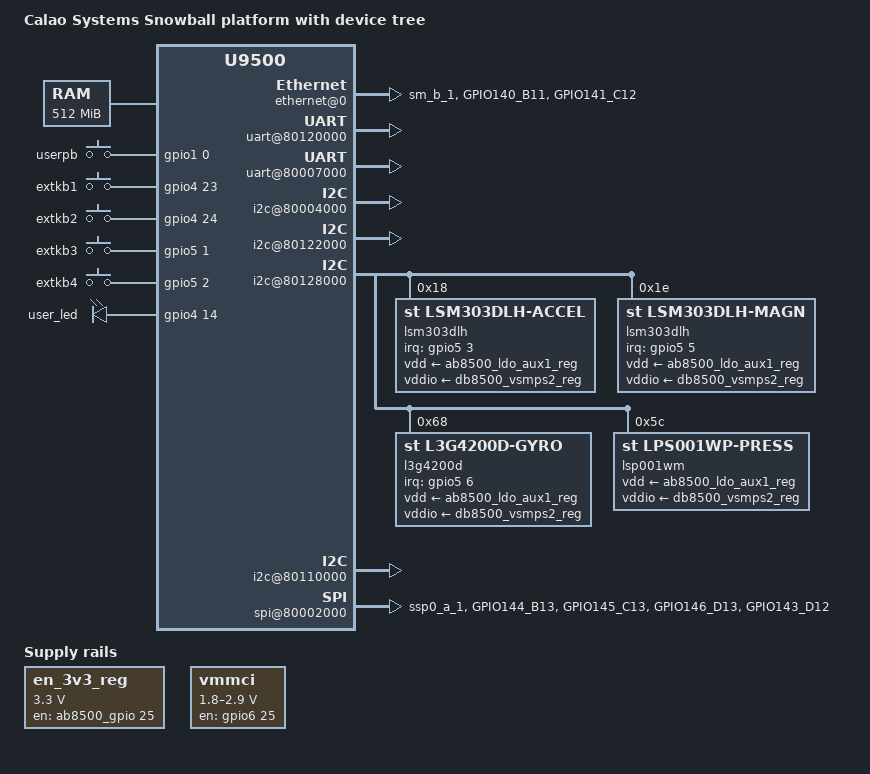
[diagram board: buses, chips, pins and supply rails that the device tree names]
// SPDX-License-Identifier: GPL-2.0-or-later
/*
 * Copyright 2011 ST-Ericsson AB
 */

/dts-v1/;
#include "ste-db9500.dtsi"
#include "ste-href-ab8500.dtsi"
#include "ste-href-family-pinctrl.dtsi"

/ {
	model = "Calao Systems Snowball platform with device tree";
	compatible = "calaosystems,snowball-a9500", "st-ericsson,u9500";

	memory {
		device_type = "memory";
		reg = <0x00000000 0x20000000>;
	};

	en_3v3_reg: en_3v3 {
		compatible = "regulator-fixed";
		regulator-name = "en-3v3-fixed-supply";
		regulator-min-microvolt = <3300000>;
		regulator-max-microvolt = <3300000>;
		/* AB8500 GPIOs start from 1 - offset 25 is GPIO26. */
		gpio = <&ab8500_gpio 25 0x4>;
		startup-delay-us = <5000>;
		enable-active-high;
	};

	gpio_keys {
		compatible = "gpio-keys";
		#address-cells = <1>;
		#size-cells = <0>;

		button@1 {
			debounce-interval = <50>;
			wakeup-source;
			linux,code = <2>;
			label = "userpb";
			gpios = <&gpio1 0 GPIO_ACTIVE_HIGH>;
		};
		button@2 {
			debounce-interval = <50>;
			wakeup-source;
			linux,code = <3>;
			label = "extkb1";
			gpios = <&gpio4 23 GPIO_ACTIVE_HIGH>;
		};
		button@3 {
			debounce-interval = <50>;
			wakeup-source;
			linux,code = <4>;
			label = "extkb2";
			gpios = <&gpio4 24 GPIO_ACTIVE_HIGH>;
		};
		button@4 {
			debounce-interval = <50>;
			wakeup-source;
			linux,code = <5>;
			label = "extkb3";
			gpios = <&gpio5 1 GPIO_ACTIVE_HIGH>;
		};
		button@5 {
			debounce-interval = <50>;
			wakeup-source;
			linux,code = <6>;
			label = "extkb4";
			gpios = <&gpio5 2 GPIO_ACTIVE_HIGH>;
		};
	};

	leds {
		compatible = "gpio-leds";
		pinctrl-names = "default";
		pinctrl-0 = <&gpioled_snowball_mode>;
		used-led {
			label = "user_led";
			gpios = <&gpio4 14 GPIO_ACTIVE_HIGH>;
			default-state = "on";
			linux,default-trigger = "heartbeat";
		};
	};

	soc {
		/* Name the GPIO muxed rails on the Snowball board */
		gpio@8012e000 {
			/* GPIOs 0 - 31 */
			gpio-line-names = "", "", "", "", "", "", "", "",
				     "", "", "", "", "", "", "", "",
				     "", "", "", "", "", "", "", "",
				     "", "", "", "", "", "", "",
				     "AP_GPIO31";
		};

		gpio@8012e080 {
			/* GPIOs 32 - 63 */
			gpio-line-names = "USR PB", "", "", "", "", "", "", "",
				     "", "", "", "", "", "", "", "",
				     "", "", "", "", "", "", "", "",
				     "", "", "", "", "", "", "", "";
		};

		gpio@8000e000 {
			/* GPIOs 64 - 95 */
			gpio-line-names = "", "", "", "", "AP_GPIO68", "", "", "",
				     "", "", "", "", "", "", "", "",
				     "", "", "", "", "", "", "", "",
				     "", "", "", "", "", "", "", "";
		};

		gpio@8000e100 {
			/* GPIOs 128 - 159 */
			gpio-line-names = "", "", "", "", "", "", "", "",
				     "", "", "", "", "IRQ_LAN", "RSTn_LAN",
				     "USR_LED", "", "", "", "", "", "",
				     "", "", "AP_GPIO151", "AP_GPIO152",
				     "", "", "", "", "", "", "";
		};

		gpio@8000e180 {
			/* GPIOs 160 - 191 */
			gpio-line-names = "", "AP_GPIO161", "AP_GPIO162",
				     "ACCELEROMETER_INT1_RDY",
				     "ACCELEROMETER_INT2", "MAG_DRDY",
				     "GYRO_DRDY", "RSTn_MLC", "RSTn_SLC",
				     "GYRO_INT", "UART_WAKE", "GBF_RESET",
				     "", "", "", "",
				     "", "", "", "", "", "", "", "",
				     "", "", "", "", "", "", "", "";
		};

		gpio@8011e000 {
			/* GPIOs 192 - 223 */
			gpio-line-names = "HDTV_INTn", "", "", "", "HDTV_RST",
				     "", "", "", "", "", "", "", "", "",
				     "", "", "", "", "", "", "", "", "",
				     "WLAN_RESETN", "WLAN_IRQ", "MMC_EN",
				     "MMC_CD", "", "", "", "", "";
		};

		gpio@8011e080 {
			/* GPIOs 224 - 255 */
			gpio-line-names = "", "", "", "", "SD_SEL", "", "", "",
				     "", "", "", "", "", "", "", "",
				     "", "", "", "", "", "", "", "",
				     "", "", "", "", "", "", "", "";
		};

		msp0: msp@80123000 {
			pinctrl-names = "default";
			pinctrl-0 = <&msp0txrxtfstck_a_1_default>;
			status = "okay";
		};

		msp1: msp@80124000 {
			pinctrl-names = "default";
			pinctrl-0 = <&msp1txrx_a_1_default>;
			status = "okay";
		};

		msp2: msp@80117000 {
			pinctrl-names = "default";
			pinctrl-0 = <&msp2_a_1_default>;
		};

		msp3: msp@80125000 {
			status = "okay";
		};

		external-bus@50000000 {
			status = "okay";

			ethernet@0 {
				compatible = "smsc,lan9115";
				reg = <0 0x10000>;
				interrupts = <12 IRQ_TYPE_EDGE_RISING>;
				interrupt-parent = <&gpio4>;
				vdd33a-supply = <&en_3v3_reg>;
				vddvario-supply = <&db8500_vape_reg>;
				pinctrl-names = "default";
				pinctrl-0 = <&eth_snowball_mode>;

				reg-shift = <1>;
				reg-io-width = <2>;
				smsc,force-internal-phy;
				smsc,irq-active-high;
				smsc,irq-push-pull;

				clocks = <&prcc_pclk 3 0>;
			};
		};

		/* ST6G3244ME level translator for 1.8/2.9 V */
		vmmci: regulator-gpio {
			compatible = "regulator-gpio";

			/* GPIO228 SD_SEL */
			gpios = <&gpio7 4 GPIO_ACTIVE_HIGH>;
			/* GPIO217 MMC_EN */
			enable-gpio = <&gpio6 25 GPIO_ACTIVE_HIGH>;
			enable-active-high;

			regulator-min-microvolt = <1800000>;
			regulator-max-microvolt = <2900000>;
			regulator-name = "mmci-reg";
			regulator-type = "voltage";

			startup-delay-us = <100>;

			states = <1800000 0x1
				  2900000 0x0>;
		};

		// External Micro SD slot
		sdi0_per1@80126000 {
			arm,primecell-periphid = <0x10480180>;
			max-frequency = <100000000>;
			bus-width = <4>;
			cap-sd-highspeed;
			cap-mmc-highspeed;
			sd-uhs-sdr12;
			sd-uhs-sdr25;
			/* All direction control is used */
			st,sig-dir-cmd;
			st,sig-dir-dat0;
			st,sig-dir-dat2;
			st,sig-dir-dat31;
			st,sig-pin-fbclk;
			full-pwr-cycle;
			vmmc-supply = <&ab8500_ldo_aux3_reg>;
			vqmmc-supply = <&vmmci>;
			pinctrl-names = "default", "sleep";
			pinctrl-0 = <&mc0_a_1_default &sdi0_default_mode>;
			pinctrl-1 = <&mc0_a_1_sleep>;

			/* GPIO218 MMC_CD */
			cd-gpios  = <&gpio6 26 GPIO_ACTIVE_LOW>;

			status = "okay";
		};

		// WLAN SDIO channel
		sdi1_per2@80118000 {
			arm,primecell-periphid = <0x10480180>;
			max-frequency = <100000000>;
			bus-width = <4>;
			pinctrl-names = "default", "sleep";
			pinctrl-0 = <&mc1_a_1_default>;
			pinctrl-1 = <&mc1_a_1_sleep>;

			status = "okay";
		};

		// Unused PoP eMMC - register and put it to sleep by default */
		sdi2_per3@80005000 {
			arm,primecell-periphid = <0x10480180>;
			pinctrl-names = "default";
			pinctrl-0 = <&mc2_a_1_sleep>;

			status = "okay";
		};

		// On-board eMMC
		sdi4_per2@80114000 {
			arm,primecell-periphid = <0x10480180>;
		        max-frequency = <100000000>;
			bus-width = <8>;
			cap-mmc-highspeed;
			vmmc-supply = <&ab8500_ldo_aux2_reg>;
			pinctrl-names = "default", "sleep";
			pinctrl-0 = <&mc4_a_1_default>;
			pinctrl-1 = <&mc4_a_1_sleep>;

			status = "okay";
		};

		uart@80120000 {
			pinctrl-names = "default", "sleep";
			pinctrl-0 = <&u0_a_1_default>;
			pinctrl-1 = <&u0_a_1_sleep>;
			status = "okay";
		};

		/* This UART is unused and thus left disabled */
		uart@80121000 {
			pinctrl-names = "default", "sleep";
			pinctrl-0 = <&u1rxtx_a_1_default>;
			pinctrl-1 = <&u1rxtx_a_1_sleep>;
		};

		uart@80007000 {
			pinctrl-names = "default", "sleep";
			pinctrl-0 = <&u2rxtx_c_1_default>;
			pinctrl-1 = <&u2rxtx_c_1_sleep>;
			status = "okay";
		};

		i2c@80004000 {
			pinctrl-names = "default","sleep";
			pinctrl-0 = <&i2c0_a_1_default>;
			pinctrl-1 = <&i2c0_a_1_sleep>;
			status = "okay";
		};

		i2c@80122000 {
			pinctrl-names = "default","sleep";
			pinctrl-0 = <&i2c1_b_2_default>;
			pinctrl-1 = <&i2c1_b_2_sleep>;
			status = "okay";
		};

		i2c@80128000 {
			pinctrl-names = "default","sleep";
			pinctrl-0 = <&i2c2_b_2_default>;
			pinctrl-1 = <&i2c2_b_2_sleep>;
			status = "okay";
			lsm303dlh@18 {
				/* Accelerometer */
				compatible = "st,lsm303dlh-accel";
				st,drdy-int-pin = <1>;
				reg = <0x18>;
				vdd-supply = <&ab8500_ldo_aux1_reg>;
				vddio-supply = <&db8500_vsmps2_reg>;
				pinctrl-names = "default";
				pinctrl-0 = <&accel_snowball_mode>;
				interrupt-parent = <&gpio5>;
				interrupts = <3 IRQ_TYPE_EDGE_RISING>, /* INT1 */
					     <4 IRQ_TYPE_EDGE_RISING>; /* INT2 */
			};
			lsm303dlh@1e {
				/* Magnetometer */
				compatible = "st,lsm303dlh-magn";
				reg = <0x1e>;
				vdd-supply = <&ab8500_ldo_aux1_reg>;
				vddio-supply = <&db8500_vsmps2_reg>;
				pinctrl-names = "default";
				pinctrl-0 = <&magneto_snowball_mode>;
				interrupt-parent = <&gpio5>;
				interrupts = <5 IRQ_TYPE_EDGE_RISING>; /* DRDY line */
			};
			l3g4200d@68 {
				/* Gyroscope */
				compatible = "st,l3g4200d-gyro";
				st,drdy-int-pin = <2>;
				reg = <0x68>;
				vdd-supply = <&ab8500_ldo_aux1_reg>;
				vddio-supply = <&db8500_vsmps2_reg>;
				pinctrl-names = "default";
				pinctrl-0 = <&gyro_snowball_mode>;
				interrupt-parent = <&gpio5>;
				interrupts = <6 IRQ_TYPE_EDGE_RISING>, /* DRDY line */
					     <9 IRQ_TYPE_EDGE_RISING>; /* INT1 */
			};
			lsp001wm@5c {
				/* Barometer/pressure sensor */
				compatible = "st,lps001wp-press";
				reg = <0x5c>;
				vdd-supply = <&ab8500_ldo_aux1_reg>;
				vddio-supply = <&db8500_vsmps2_reg>;
			};
		};

		i2c@80110000 {
			pinctrl-names = "default","sleep";
			pinctrl-0 = <&i2c3_c_2_default>;
			pinctrl-1 = <&i2c3_c_2_sleep>;
			status = "okay";
		};

		spi@80002000 {
			pinctrl-names = "default";
			pinctrl-0 = <&ssp0_snowball_mode>;
			status = "okay";
		};

		prcmu@80157000 {
			ab8500 {
				ab8500-gpio {
					/*
					 * AB8500 GPIOs are numbered starting from 1, so the first
					 * index 0 is what in the datasheet is called "GPIO1", and
					 * the second is "GPIO2" and so forth. Confusingly, the
					 * Snowball schematic then names the "GPIO2" line "PM_GPIO1".
					 * while later naming "GPIO4" as "PM_GPIO4".
					 */
					gpio-line-names = "", /* AB8500 GPIO1 */
						     "PM_GPIO1", /* AB8500 GPIO2 */
						     "WLAN_CLK_REQ", /* AB8500 GPIO3 */
						     "PM_GPIO4", /* AB8500 GPIO4 */
						     "", "", "", "", "", "", "", "", "", "", "",
						     "EN_3V6", /* AB8500 GPIO16 */
						     "", "", "", "" ,"", "", "", "", "",
						     "EN_3V3", /* AB8500 GPIO26 */
						     "", "", "", "", "", "", "", "", "", "", "", "", "",
						     "PM_GPIO40", /* AB8500 GPIO40 */
						     "PM_GPIO41", /* AB8500 GPIO41 */
						     "PM_GPIO42"; /* AB8500 GPIO42 */
				};

				ab8500_usb {
					pinctrl-names = "default", "sleep";
					pinctrl-0 = <&usb_a_1_default>;
					pinctrl-1 = <&usb_a_1_sleep>;
				};

				ext_regulators: ab8500-ext-regulators {
					ab8500_ext1_reg: ab8500_ext1 {
						regulator-name = "ab8500-ext-supply1";
					};

					ab8500_ext2_reg_reg: ab8500_ext2 {
						regulator-name = "ab8500-ext-supply2";
					};

					ab8500_ext3_reg_reg: ab8500_ext3 {
						regulator-name = "ab8500-ext-supply3";
					};
				};

				ab8500-regulators {
					ab8500_ldo_aux1_reg: ab8500_ldo_aux1 {
						regulator-name = "V-DISPLAY";
					};

					ab8500_ldo_aux2_reg: ab8500_ldo_aux2 {
						regulator-name = "V-eMMC1";
					};

					ab8500_ldo_aux3_reg: ab8500_ldo_aux3 {
						regulator-name = "V-MMC-SD";
					};

					ab8500_ldo_intcore_reg: ab8500_ldo_intcore {
						regulator-name = "V-INTCORE";
					};

					ab8500_ldo_tvout_reg: ab8500_ldo_tvout {
						regulator-name = "V-TVOUT";
					};

					ab8500_ldo_audio_reg: ab8500_ldo_audio {
						regulator-name = "V-AUD";
					};

					ab8500_ldo_anamic1_reg: ab8500_ldo_anamic1 {
						regulator-name = "V-AMIC1";
					};

					ab8500_ldo_anamic2_reg: ab8500_ldo_anamic2 {
						regulator-name = "V-AMIC2";
					};

					ab8500_ldo_dmic_reg: ab8500_ldo_dmic {
						regulator-name = "V-DMIC";
					};

					ab8500_ldo_ana_reg: ab8500_ldo_ana {
						regulator-name = "V-CSI/DSI";
					};
				};
			};
		};

		pinctrl {
			/*
			 * Set this up using hogs, as time goes by and as seems fit, these
			 * can be moved over to being controlled by respective device.
			 */
			pinctrl-names = "default";
			pinctrl-0 = <&gbf_snowball_mode>,
				  <&wlan_snowball_mode>;

			ethernet {
				/*
				 * Mux in "SM" which is used for the
				 * SMSC911x Ethernet adapter
				 */
				eth_snowball_mode: eth_snowball {
					snowball_mux {
						function = "sm";
						groups = "sm_b_1";
					};
					/* LAN IRQ pin */
					snowball_cfg1 {
						pins = "GPIO140_B11";
						ste,config = <&in_nopull>;
					};
					/* LAN reset pin */
					snowball_cfg2 {
						pins = "GPIO141_C12";
						ste,config = <&gpio_out_hi>;
					};

				};
			};
			sdi0 {
				sdi0_default_mode: sdi0_default {
					snowball_mux {
						function = "mc0";
						/* Add the DAT31 pin even if it is not really used */
						groups = "mc0dat31dir_a_1";
					};
					snowball_cfg1 {
						pins = "GPIO21_AB3"; /* DAT31DIR */
						ste,config = <&out_hi>;
					};
					/* SD card detect GPIO pin, extend default state */
					snowball_cfg2 {
						pins = "GPIO218_AH11";
						ste,config = <&gpio_in_pu>;
					};
					/* VMMCI level-shifter enable */
					snowball_cfg3 {
						pins = "GPIO217_AH12";
						ste,config = <&gpio_out_hi>;
					};
					/* VMMCI level-shifter voltage select */
					snowball_cfg4 {
						pins = "GPIO228_AJ6";
						ste,config = <&gpio_out_hi>;
					};
				};
			};
			ssp0 {
				ssp0_snowball_mode: ssp0_snowball_default {
					snowball_mux {
						function = "ssp0";
						groups = "ssp0_a_1";
					};
					snowball_cfg1 {
						pins = "GPIO144_B13"; /* FRM */
						ste,config = <&gpio_out_hi>;
					};
					snowball_cfg2 {
						pins = "GPIO145_C13"; /* RXD */
						ste,config = <&in_pd>;
					};
					snowball_cfg3 {
						pins =
						"GPIO146_D13", /* TXD */
						"GPIO143_D12"; /* CLK */
						ste,config = <&out_lo>;
					};

				};
			};
			gpio_led {
				gpioled_snowball_mode: gpioled_default {
					snowball_cfg1 {
						pins = "GPIO142_C11";
						ste,config = <&gpio_out_hi>;
					};

				};
			};
			accelerometer {
				accel_snowball_mode: accel_snowball {
					/* Accelerometer lines */
					snowball_cfg1 {
						pins =
						"GPIO163_C20", /* ACCEL_IRQ1 */
						"GPIO164_B21"; /* ACCEL_IRQ2 */
						ste,config = <&gpio_in_pu>;
					};
				};
			};
			gyro {
				gyro_snowball_mode: gyro_snowball {
					snowball_cfg1 {
						pins =
						"GPIO166_A22", /* DRDY */
						"GPIO169_D22"; /* INT */
						ste,config = <&gpio_in_pu>;
					};
				};
			};
			magnetometer {
				magneto_snowball_mode: magneto_snowball {
					snowball_cfg1 {
						pins = "GPIO165_C21"; /* MAG_DRDY */
						ste,config = <&gpio_in_pu>;
					};
				};
			};
			gbf {
				gbf_snowball_mode: gbf_snowball {
					/*
					 * GBF (GPS, Bluetooth, FM-radio) interface,
					 * pull low to reset state
					 */
					snowball_cfg1 {
						pins = "GPIO171_D23"; /* GBF_ENA_RESET */
						ste,config = <&gpio_out_lo>;
					};
				 };
			};
			wlan {
				wlan_snowball_mode: wlan_snowball {
					/*
					 * Activate this mode with the WLAN chip.
					 * These are plain GPIO pins used by WLAN
					 */
					snowball_cfg1 {
						pins =
						"GPIO161_D21", /* WLAN_PMU_EN */
						"GPIO215_AH13"; /* WLAN_ENA */
						ste,config = <&gpio_out_lo>;
					};
					snowball_cfg2 {
						pins = "GPIO216_AG12"; /* WLAN_IRQ */
						ste,config = <&gpio_in_pu>;
					};
				};
			};
		};

		mcde@a0350000 {
			pinctrl-names = "default", "sleep";
			pinctrl-0 = <&lcd_default_mode>;
			pinctrl-1 = <&lcd_sleep_mode>;
		};
	};
};
